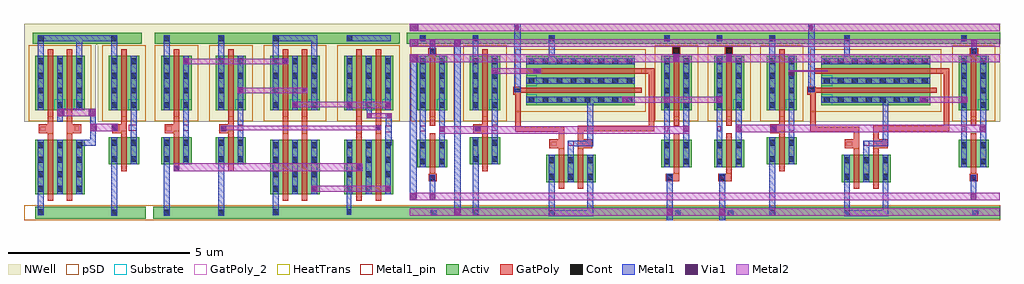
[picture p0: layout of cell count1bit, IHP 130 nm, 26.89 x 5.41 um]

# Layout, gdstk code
from math import pi, radians
import gdstk
lib = gdstk.Library(unit=1e-6, precision=5e-09)
def R(c, l, rs):  # rectangles x0, y0, x1, y1
    for r in rs: c.add(gdstk.rectangle(r[:2], r[2:], *l))
def A(c, l, x, y, w, h, nx, ny, dx, dy):  # array of equal rectangles
    R(c, l, [(x+i*dx, y+j*dy, x+i*dx+w, y+j*dy+h) for i in range(nx) for j in range(ny)])
Activ = (1, 0)
GatPoly = (5, 0)
GatPoly_2 = (5, 2)
Cont = (6, 0)
Metal1 = (8, 0)
Metal1_pin = (8, 2)
Metal2 = (10, 0)
pSD = (14, 0)
Via1 = (19, 0)
NWell = (31, 0)
Substrate = (40, 0)
HeatTrans = (51, 0)

nmos_1 = lib.new_cell('nmos$1')
R(nmos_1, Activ, [(0,0,0.3,0.3), (0,0,0.83,1.5), (0.53,0,0.83,0.3)])
R(nmos_1, GatPoly, [(0.34,-0.18,0.49,1.68)])
R(nmos_1, GatPoly_2, [(0.34,-0.18,0.49,1.68)])
A(nmos_1, Cont, 0.07, 0.07, 0.16, 0.16, 1, 4, 0, 0.4)
A(nmos_1, Cont, 0.6, 0.07, 0.16, 0.16, 1, 4, 0, 0.4)
R(nmos_1, Metal1, [(0.07,0,0.23,1.5), (0.6,0,0.76,1.5)])
R(nmos_1, Metal1_pin, [(0.07,0,0.23,1.5), (0.6,0,0.76,1.5)])
R(nmos_1, HeatTrans, [(0.34,-0.18,0.49,1.68)])
nmos_1.add(gdstk.Label('nmos', (0.415,0.75), layer=63, texttype=0))
nmos_1.add(gdstk.Label('nmos', (0.415,0.75), layer=51, texttype=0))

pmos = lib.new_cell('pmos')
R(pmos, Activ, [(0,0,0.3,0.3), (0,0,0.83,1.5), (0.53,0,0.83,0.3)])
R(pmos, GatPoly, [(0.34,-0.18,0.49,1.68), (0.34,-0.18,0.49,1.68)])
A(pmos, Cont, 0.07, 0.07, 0.16, 0.16, 1, 4, 0, 0.4)
A(pmos, Cont, 0.6, 0.07, 0.16, 0.16, 1, 4, 0, 0.4)
R(pmos, Metal1, [(0.07,0,0.23,1.5), (0.07,0,0.23,1.5), (0.6,0,0.76,1.5), (0.6,0,0.76,1.5)])
R(pmos, pSD, [(-0.18,-0.3,1.01,1.8)])
R(pmos, NWell, [(-0.31,-0.31,1.14,1.81)])
R(pmos, Substrate, [(0.53,0,0.83,0.3)])
R(pmos, HeatTrans, [(0.34,-0.18,0.49,1.68)])
pmos.add(gdstk.Label('pmos', (0.415,0.75), layer=63, texttype=0))
pmos.add(gdstk.Label('pmos', (0.415,0.75), layer=51, texttype=0))

nmos_4 = lib.new_cell('nmos$4')
R(nmos_4, Activ, [(0,0,0.3,0.3), (0,0,0.83,0.75), (0.53,0,0.83,0.3)])
R(nmos_4, GatPoly, [(0.34,-0.18,0.49,0.93)])
R(nmos_4, GatPoly_2, [(0.34,-0.18,0.49,0.93)])
R(nmos_4, Cont, [(0.07,0.07,0.23,0.23), (0.6,0.07,0.76,0.23), (0.07,0.52,0.23,0.68), (0.6,0.52,0.76,0.68)])
R(nmos_4, Metal1, [(0.07,0,0.23,0.75), (0.6,0,0.76,0.75)])
R(nmos_4, Metal1_pin, [(0.07,0,0.23,0.75), (0.6,0,0.76,0.75)])
R(nmos_4, HeatTrans, [(0.34,-0.18,0.49,0.93)])
nmos_4.add(gdstk.Label('nmos', (0.415,0.375), layer=63, texttype=0))
nmos_4.add(gdstk.Label('nmos', (0.415,0.375), layer=51, texttype=0))

pmos_4 = lib.new_cell('pmos$4')
R(pmos_4, Activ, [(0,0,0.3,0.3), (0,0,0.83,1.5), (0.53,0,0.83,0.3)])
R(pmos_4, GatPoly, [(0.34,-0.18,0.49,1.68), (0.34,-0.18,0.49,1.68)])
A(pmos_4, Cont, 0.07, 0.07, 0.16, 0.16, 1, 4, 0, 0.4)
A(pmos_4, Cont, 0.6, 0.07, 0.16, 0.16, 1, 4, 0, 0.4)
R(pmos_4, Metal1, [(0.07,0,0.23,1.5), (0.07,0,0.23,1.5), (0.6,0,0.76,1.5), (0.6,0,0.76,1.5)])
R(pmos_4, pSD, [(-0.18,-0.3,1.01,1.8)])
R(pmos_4, NWell, [(-0.31,-0.31,1.14,1.81)])
R(pmos_4, Substrate, [(0.53,0,0.83,0.3)])
R(pmos_4, HeatTrans, [(0.34,-0.18,0.49,1.68)])
pmos_4.add(gdstk.Label('pmos', (0.415,0.75), layer=63, texttype=0))
pmos_4.add(gdstk.Label('pmos', (0.415,0.75), layer=51, texttype=0))

inverter_3 = lib.new_cell('inverter$3')
R(inverter_3, Activ, [(-0.845,-2.62,0.395,-2.29), (-0.795,2.205,0.285,2.505)])
R(inverter_3, GatPoly, [(-0.525,-0.265,-0.275,-0.015), (-0.275,-0.195,-0.125,0.185)])
R(inverter_3, GatPoly_2, [(-0.485,-0.215,-0.325,-0.055)])
R(inverter_3, Cont, [(-0.545,-2.535,-0.385,-2.375), (-0.545,-2.535,-0.385,-2.375), (-0.545,2.275,-0.385,2.435)])
R(inverter_3, Metal1, [(-0.545,-2.535,-0.38,-0.845), (-0.015,-0.375,0.145,0.365), (-0.545,1.865,-0.385,2.435)])
R(inverter_3, Metal1_pin, [(-0.015,-0.195,0.145,-0.035)])
R(inverter_3, pSD, [(-0.925,-2.66,0.525,-2.245)])
R(inverter_3, NWell, [(-0.925,2.175,0.525,2.745)])
inverter_3.add(gdstk.Reference(nmos_4, (-0.615,-1.125)))
inverter_3.add(gdstk.Reference(pmos_4, (-0.615,0.365)))
inverter_3.add(gdstk.Label('vss', (-0.475,-2.43), layer=8, texttype=2))
inverter_3.add(gdstk.Label('vdd', (-0.465,2.355), layer=8, texttype=2))
inverter_3.add(gdstk.Label('out', (0.06,-0.09), layer=8, texttype=2))
inverter_3.add(gdstk.Label('in', (-0.45,-0.11), layer=5, texttype=2))

xorgate = lib.new_cell('xorgate')
R(xorgate, Activ, [(-5.875,-2.62,-0.845,-2.29), (-0.845,-2.62,1.185,-2.29), (-5.825,2.205,-0.795,2.505), (-0.795,2.205,0.925,2.505)])
R(xorgate, GatPoly, [(-2.305,-0.265,-2.155,0.185), (-1.775,-0.265,-1.625,0.185), (-0.275,-0.265,-0.125,0.185), (0.255,-0.265,0.405,0.185)])
R(xorgate, GatPoly_2, [(-5.515,-0.215,-5.355,-0.055)])
R(xorgate, Cont, [(-2.575,-2.52,-2.415,-2.36), (-0.535,-2.51,-0.42,-2.365), (-5.305,-1.305,-5.155,-1.16), (-0.23,-1.26,-0.145,-1.135), (-4.015,-0.215,-3.855,-0.055), (0.255,-0.18,0.405,-0.04), (-1.75,0.875,-1.665,0.965), (-2.28,1.66,-2.175,1.78), (-2.575,2.275,-2.415,2.435), (-0.545,2.275,-0.385,2.435)])
R(xorgate, Metal1, [(-2.575,-2.52,-2.415,-0.445), (-0.535,-2.51,-0.42,-1.715), (-0.265,-1.31,-0.115,-1.09), (-5.305,-1.305,-5.155,-1.16), (-5.305,-1.305,-5.155,-1.165), (0.515,-0.595,0.695,-0.065), (0.53,-0.235,0.695,0.285), (-4.015,-0.215,-3.855,-0.055), (0.255,-0.18,0.405,-0.04), (0.005,0.145,0.145,0.365), (-2.575,0.365,-2.415,2.435), (-1.75,0.875,-1.665,0.965), (-2.31,1.635,-2.15,1.8), (-2.575,1.865,-2.415,2.435), (-1.515,1.865,-1.355,2.435), (-2.575,2.275,-1.355,2.435), (-0.545,2.275,0.675,2.435)])
R(xorgate, Metal1_pin, [(-2.575,-2.52,-2.415,-2.355), (0.515,-0.235,0.695,-0.065), (-2.575,2.275,-2.415,2.435), (-0.545,2.275,-0.385,2.435)])
R(xorgate, Metal2, [(-1.515,-1.88,0.675,-1.715), (-5.305,-1.305,-5.155,-1.16), (-5.305,-1.305,-0.125,-1.09), (-4.015,-0.18,0.405,-0.055), (0.005,0.145,0.695,0.285), (-0.53,0.43,0.675,0.605), (-2.045,0.445,-0.385,0.605), (-3.545,0.835,-1.625,0.995), (-5.045,1.635,-2.15,1.79), (-5.045,1.635,-4.885,1.795)])
R(xorgate, pSD, [(-5.955,-2.66,-0.925,-2.245), (-0.925,-2.66,1.105,-2.245)])
R(xorgate, Via1, [(-1.515,-1.88,-1.355,-1.72), (0.515,-1.855,0.675,-1.715), (-5.305,-1.305,-5.155,-1.165), (-0.265,-1.305,-0.115,-1.09), (-4.015,-0.215,-3.855,-0.055), (0.255,-0.18,0.405,-0.04), (0.005,0.145,0.145,0.285), (0.575,0.145,0.695,0.285), (0.53,0.43,0.675,0.605), (-2.045,0.445,-1.885,0.595), (-0.545,0.46,-0.385,0.605), (-3.545,0.835,-3.385,1), (-1.75,0.875,-1.665,0.965), (-2.31,1.635,-2.15,1.8), (-5.045,1.64,-4.885,1.8)])
R(xorgate, NWell, [(-5.955,0.055,1.105,2.745), (-5.955,2.175,-0.925,2.745), (-0.925,2.175,1.105,2.745)])
xorgate.add(gdstk.Reference(nmos_1, (0.745,-0.445), rotation=pi))
xorgate.add(gdstk.Reference(nmos_1, (-0.615,-1.945)))
xorgate.add(gdstk.Reference(pmos, (-0.615,0.365)))
xorgate.add(gdstk.Reference(pmos, (-0.085,0.365)))
xorgate.add(gdstk.Reference(pmos, (-2.645,0.365)))
xorgate.add(gdstk.Reference(pmos, (-2.115,0.365)))
xorgate.add(gdstk.Reference(nmos_1, (-1.285,-0.445), rotation=pi))
xorgate.add(gdstk.Reference(nmos_1, (-2.645,-1.945)))
xorgate.add(gdstk.Reference(inverter_3, (-3.53,0)))
xorgate.add(gdstk.Reference(inverter_3, (-5.03,0)))
xorgate.add(gdstk.Label('vdd', (-5.495,2.355), layer=8, texttype=2))
xorgate.add(gdstk.Label('vss', (-5.495,-2.455), layer=8, texttype=2))
xorgate.add(gdstk.Label('out', (0.605,-0.15), layer=8, texttype=2))
xorgate.add(gdstk.Label('vdd', (-2.505,2.38), layer=8, texttype=2))
xorgate.add(gdstk.Label('vss', (-2.515,-2.425), layer=8, texttype=2))
xorgate.add(gdstk.Label('vdd', (-0.475,2.38), layer=8, texttype=2))
xorgate.add(gdstk.Label('b', (-5.435,-0.135), layer=5, texttype=2))
xorgate.add(gdstk.Label('a', (-3.93,-0.14), layer=5, texttype=2))

nmos_5_1 = lib.new_cell('nmos$5$1')
R(nmos_5_1, Activ, [(0,0,0.3,0.3), (0,0,0.83,0.75), (0.53,0,0.83,0.3)])
R(nmos_5_1, GatPoly, [(0.34,-0.18,0.49,0.93)])
R(nmos_5_1, GatPoly_2, [(0.34,-0.18,0.49,0.93)])
R(nmos_5_1, Cont, [(0.07,0.07,0.23,0.23), (0.6,0.07,0.76,0.23), (0.07,0.52,0.23,0.68), (0.6,0.52,0.76,0.68)])
R(nmos_5_1, Metal1, [(0.07,0,0.23,0.75), (0.6,0,0.76,0.75)])
R(nmos_5_1, Metal1_pin, [(0.07,0,0.23,0.75), (0.6,0,0.76,0.75)])
R(nmos_5_1, HeatTrans, [(0.34,-0.18,0.49,0.93)])
nmos_5_1.add(gdstk.Label('nmos', (0.415,0.375), layer=63, texttype=0))
nmos_5_1.add(gdstk.Label('nmos', (0.415,0.375), layer=51, texttype=0))

pmos_6 = lib.new_cell('pmos$6')
R(pmos_6, Activ, [(0,0,0.3,0.3), (0,0,0.83,1.5), (0.53,0,0.83,0.3)])
R(pmos_6, GatPoly, [(0.34,-0.18,0.49,1.68), (0.34,-0.18,0.49,1.68)])
A(pmos_6, Cont, 0.07, 0.07, 0.16, 0.16, 1, 4, 0, 0.4)
A(pmos_6, Cont, 0.6, 0.07, 0.16, 0.16, 1, 4, 0, 0.4)
R(pmos_6, Metal1, [(0.07,0,0.23,1.5), (0.07,0,0.23,1.5), (0.6,0,0.76,1.5), (0.6,0,0.76,1.5)])
R(pmos_6, pSD, [(-0.18,-0.3,1.01,1.8)])
R(pmos_6, NWell, [(-0.31,-0.31,1.14,1.81)])
R(pmos_6, Substrate, [(0.53,0,0.83,0.3)])
R(pmos_6, HeatTrans, [(0.34,-0.18,0.49,1.68)])
pmos_6.add(gdstk.Label('pmos', (0.415,0.75), layer=63, texttype=0))
pmos_6.add(gdstk.Label('pmos', (0.415,0.75), layer=51, texttype=0))

transmissiongate = lib.new_cell('transmissiongate')
R(transmissiongate, Activ, [(2.295,-2.62,3.745,-2.29), (2.315,2.205,3.745,2.505)])
R(transmissiongate, GatPoly, [(2.945,-0.055,3.095,0.185)])
R(transmissiongate, GatPoly_2, [(2.98,-0.43,3.09,-0.27), (2.96,-0.055,3.08,0.105)])
R(transmissiongate, Cont, [(2.98,-2.54,3.14,-2.38), (2.675,2.275,2.835,2.435)])
R(transmissiongate, Metal1, [(2.98,-2.54,3.14,-2.38), (2.98,-2.54,3.14,-2.38), (2.675,-0.445,2.835,-0.21), (3.205,-0.445,3.365,-0.21), (2.675,-0.21,2.835,0.365), (3.205,-0.21,3.365,0.365), (2.675,2.275,2.835,2.435)])
R(transmissiongate, Metal1_pin, [(2.98,-2.54,3.14,-2.38), (2.69,-0.21,2.785,-0.07), (3.205,-0.21,3.365,-0.07), (2.675,2.275,2.835,2.435)])
R(transmissiongate, pSD, [(2.295,-2.66,3.745,-2.245)])
R(transmissiongate, NWell, [(2.295,2.175,3.745,2.745)])
transmissiongate.add(gdstk.Reference(nmos_5_1, (2.605,-1.195)))
transmissiongate.add(gdstk.Reference(pmos_6, (2.605,0.365)))
transmissiongate.add(gdstk.Label('vdd', (2.745,2.38), layer=8, texttype=2))
transmissiongate.add(gdstk.Label('vss', (3.055,-2.46), layer=8, texttype=2))
transmissiongate.add(gdstk.Label('out', (3.285,-0.14), layer=8, texttype=2))
transmissiongate.add(gdstk.Label('in', (2.73,-0.14), layer=8, texttype=2))
transmissiongate.add(gdstk.Label('en', (3.015,-0.355), layer=5, texttype=2))
transmissiongate.add(gdstk.Label('noten', (3.025,0.02), layer=5, texttype=2))

nmos = lib.new_cell('nmos')
R(nmos, Activ, [(0,0,0.3,0.3), (0,0,0.83,0.75), (0.53,0,0.83,0.3)])
R(nmos, GatPoly, [(0.34,-0.18,0.49,0.93)])
R(nmos, GatPoly_2, [(0.34,-0.18,0.49,0.93)])
R(nmos, Cont, [(0.07,0.07,0.23,0.23), (0.6,0.07,0.76,0.23), (0.07,0.52,0.23,0.68), (0.6,0.52,0.76,0.68)])
R(nmos, Metal1, [(0.07,0,0.23,0.75), (0.6,0,0.76,0.75)])
R(nmos, Metal1_pin, [(0.07,0,0.23,0.75), (0.6,0,0.76,0.75)])
R(nmos, HeatTrans, [(0.34,-0.18,0.49,0.93)])
nmos.add(gdstk.Label('nmos', (0.415,0.375), layer=63, texttype=0))
nmos.add(gdstk.Label('nmos', (0.415,0.375), layer=51, texttype=0))

pmos_1 = lib.new_cell('pmos$1')
R(pmos_1, Activ, [(0,0,0.3,0.3), (0,0,0.83,1.5), (0.53,0,0.83,0.3)])
R(pmos_1, GatPoly, [(0.34,-0.18,0.49,1.68), (0.34,-0.18,0.49,1.68)])
A(pmos_1, Cont, 0.07, 0.07, 0.16, 0.16, 1, 4, 0, 0.4)
A(pmos_1, Cont, 0.6, 0.07, 0.16, 0.16, 1, 4, 0, 0.4)
R(pmos_1, Metal1, [(0.07,0,0.23,1.5), (0.07,0,0.23,1.5), (0.6,0,0.76,1.5), (0.6,0,0.76,1.5)])
R(pmos_1, pSD, [(-0.18,-0.3,1.01,1.8)])
R(pmos_1, NWell, [(-0.31,-0.31,1.14,1.81)])
R(pmos_1, Substrate, [(0.53,0,0.83,0.3)])
R(pmos_1, HeatTrans, [(0.34,-0.18,0.49,1.68)])
pmos_1.add(gdstk.Label('pmos', (0.415,0.75), layer=63, texttype=0))
pmos_1.add(gdstk.Label('pmos', (0.415,0.75), layer=51, texttype=0))

inverter = lib.new_cell('inverter')
R(inverter, Activ, [(-0.845,-2.62,0.395,-2.29), (-0.795,2.205,0.285,2.505)])
R(inverter, GatPoly, [(-0.525,-0.265,-0.275,-0.015), (-0.275,-0.195,-0.125,0.185)])
R(inverter, GatPoly_2, [(-0.485,-0.215,-0.325,-0.055)])
R(inverter, Cont, [(-0.545,-2.535,-0.385,-2.375), (-0.545,-2.535,-0.385,-2.375), (-0.545,2.275,-0.385,2.435)])
R(inverter, Metal1, [(-0.545,-2.535,-0.38,-0.845), (-0.015,-0.375,0.145,0.365), (-0.545,1.865,-0.385,2.435)])
R(inverter, Metal1_pin, [(-0.015,-0.195,0.145,-0.035)])
R(inverter, pSD, [(-0.925,-2.66,0.525,-2.245)])
R(inverter, NWell, [(-0.925,2.175,0.525,2.745)])
inverter.add(gdstk.Reference(nmos, (-0.615,-1.125)))
inverter.add(gdstk.Reference(pmos_1, (-0.615,0.365)))
inverter.add(gdstk.Label('vss', (-0.475,-2.43), layer=8, texttype=2))
inverter.add(gdstk.Label('vdd', (-0.465,2.355), layer=8, texttype=2))
inverter.add(gdstk.Label('out', (0.06,-0.09), layer=8, texttype=2))
inverter.add(gdstk.Label('in', (-0.45,-0.11), layer=5, texttype=2))

nmos_5 = lib.new_cell('nmos$5')
R(nmos_5, Activ, [(0,0,0.3,0.3), (0,0,0.83,0.75), (0.53,0,0.83,0.3)])
R(nmos_5, GatPoly, [(0.34,-0.18,0.49,0.93)])
R(nmos_5, GatPoly_2, [(0.34,-0.18,0.49,0.93)])
R(nmos_5, Cont, [(0.07,0.07,0.23,0.23), (0.6,0.07,0.76,0.23), (0.07,0.52,0.23,0.68), (0.6,0.52,0.76,0.68)])
R(nmos_5, Metal1, [(0.07,0,0.23,0.75), (0.6,0,0.76,0.75)])
R(nmos_5, Metal1_pin, [(0.07,0,0.23,0.75), (0.6,0,0.76,0.75)])
R(nmos_5, HeatTrans, [(0.34,-0.18,0.49,0.93)])
nmos_5.add(gdstk.Label('nmos', (0.415,0.375), layer=63, texttype=0))
nmos_5.add(gdstk.Label('nmos', (0.415,0.375), layer=51, texttype=0))

pmos_5 = lib.new_cell('pmos$5')
R(pmos_5, Activ, [(0,0,0.3,0.3), (0,0,0.83,3), (0.53,0,0.83,0.3)])
R(pmos_5, GatPoly, [(0.34,-0.18,0.49,3.18), (0.34,-0.18,0.49,3.18)])
A(pmos_5, Cont, 0.07, 0.07, 0.16, 0.16, 1, 7, 0, 0.385)
A(pmos_5, Cont, 0.6, 0.07, 0.16, 0.16, 1, 7, 0, 0.385)
R(pmos_5, Cont, [(0.07,2.77,0.23,2.93), (0.6,2.77,0.76,2.93)])
R(pmos_5, Metal1, [(0.07,0,0.23,3), (0.07,0,0.23,3), (0.6,0,0.76,3), (0.6,0,0.76,3)])
R(pmos_5, pSD, [(-0.18,-0.3,1.01,3.3)])
R(pmos_5, NWell, [(-0.31,-0.31,1.14,3.31)])
R(pmos_5, Substrate, [(0.53,0,0.83,0.3)])
R(pmos_5, HeatTrans, [(0.34,-0.18,0.49,3.18)])
pmos_5.add(gdstk.Label('pmos', (0.415,1.5), layer=63, texttype=0))
pmos_5.add(gdstk.Label('pmos', (0.415,1.5), layer=51, texttype=0))

norgate = lib.new_cell('norgate')
R(norgate, Activ, [(-1.47,-2.5,1.81,-2.17), (-1.35,2.325,1.935,2.625)])
R(norgate, GatPoly, [(-0.525,-0.56,-0.125,-0.31), (-0.275,-0.56,-0.125,-0.11), (0.255,-0.56,0.405,0.065), (0.255,-0.56,0.655,-0.31), (-1.47,-0.11,-0.125,0.04), (0.255,-0.085,2.355,0.065), (2.205,-0.085,2.355,1.645), (-1.47,0.04,-1.32,1.135), (-1.47,0.965,-1.35,1.135), (2.01,1.495,2.355,1.645)])
R(norgate, GatPoly_2, [(0.47,-0.49,0.6,-0.37), (-0.48,-0.485,-0.325,-0.375)])
R(norgate, Cont, [(-0.545,-2.43,-0.385,-2.27), (-0.545,2.395,-0.385,2.555)])
R(norgate, Metal1, [(-0.545,-2.43,-0.385,-0.74), (-0.545,-2.43,0.675,-2.265), (0.515,-2.43,0.675,-0.74), (-0.015,-0.74,0.145,-0.36), (-0.015,-0.505,0.675,-0.345), (0.515,-0.49,0.675,0.695), (-0.545,1.755,-0.385,2.555)])
R(norgate, Metal1_pin, [(-0.545,-2.43,-0.385,-2.265), (-0.01,-0.49,0.15,-0.345), (-0.545,2.395,-0.385,2.555)])
R(norgate, pSD, [(-1.47,-2.54,1.81,-2.125)])
R(norgate, NWell, [(-1.47,2.295,2.13,2.865)])
norgate.add(gdstk.Reference(nmos_5, (0.745,-0.74), rotation=pi))
norgate.add(gdstk.Reference(nmos_5, (-0.615,-1.49)))
norgate.add(gdstk.Reference(pmos_5, (-1.17,1.985), rotation=3*pi/2))
norgate.add(gdstk.Reference(pmos_5, (-1.17,1.455), rotation=3*pi/2))
norgate.add(gdstk.Label('vss', (-0.485,-2.335), layer=8, texttype=2))
norgate.add(gdstk.Label('vdd', (-0.475,2.5), layer=8, texttype=2))
norgate.add(gdstk.Label('out', (0.07,-0.41), layer=8, texttype=2))
norgate.add(gdstk.Label('b', (-0.42,-0.435), layer=5, texttype=2))
norgate.add(gdstk.Label('a', (0.52,-0.44), layer=5, texttype=2))

dff = lib.new_cell('dff')
R(dff, Activ, [(-1.81,-2.62,14.55,-2.29), (-1.79,2.205,14.55,2.505)])
R(dff, GatPoly, [(-1.19,-1.585,-0.965,-1.375), (5.34,-1.585,5.565,-1.375), (5.565,-1.585,5.715,-1.375), (6.785,-1.585,7.01,-1.375), (7.01,-1.585,7.16,-1.375), (13.71,-1.585,13.935,-1.375), (1.14,0.8,1.345,1.015), (9.235,0.8,9.44,1.015), (-1.2,1.865,-0.975,2.075), (13.72,1.865,13.945,2.075), (5.515,1.895,5.74,2.105), (6.97,1.895,7.195,2.105)])
R(dff, Cont, [(-1.16,-1.565,-1,-1.405), (5.37,-1.565,5.53,-1.405), (6.815,-1.565,6.975,-1.405), (13.74,-1.565,13.9,-1.405), (0.08,-0.215,0.24,-0.055), (8.245,-0.215,8.405,-0.055), (1.17,0.86,1.355,0.955), (9.265,0.86,9.45,0.995), (1.69,1.395,1.91,1.48), (9.685,1.43,9.8,1.49), (-1.165,1.895,-1.005,2.055), (13.755,1.895,13.915,2.055), (5.55,1.925,5.71,2.085), (7.005,1.925,7.165,2.085), (10.255,2.275,10.415,2.435)])
R(dff, Metal1, [(5.37,-2.66,5.53,-1.375), (6.815,-2.66,6.975,-1.375), (-0.49,-2.535,-0.3,2.33), (-1.71,-2.115,-1.52,1.905), (-1.16,-2.115,-1,-1.405), (13.74,-2.115,13.9,-1.405), (0.08,-0.215,0.24,-0.055), (8.245,-0.215,8.405,-0.055), (1.17,0.86,1.355,2.505), (9.265,0.86,9.45,2.505), (1.69,1.375,1.91,1.525), (9.685,1.43,9.8,1.49), (5.55,1.695,5.71,1.925), (7.005,1.695,7.165,1.925), (-1.165,1.895,-1.005,2.33), (13.755,1.895,13.915,2.33), (1.17,2.505,1.35,2.745), (9.265,2.505,9.445,2.745), (-1.71,2.54,-1.48,2.75), (-1.71,2.54,-1.475,2.75)])
R(dff, Metal1_pin, [(-1.43,-0.21,-1.27,-0.065), (-1.71,1.695,-1.48,1.905), (-1.71,2.12,-1.48,2.33), (-1.71,2.54,-1.48,2.75)])
R(dff, Metal2, [(-1.71,-2.535,14.545,-2.325), (-1.71,-2.115,14.545,-1.905), (-0.9,-0.28,5.99,-0.07), (7.265,-0.24,14.15,-0.03), (4.15,0.575,5.455,0.74), (5.455,0.575,6.905,0.74), (12.345,0.575,13.65,0.74), (0.55,1.38,1.91,1.525), (8.725,1.43,9.8,1.47), (-1.71,1.695,14.545,1.905), (-1.71,2.12,14.545,2.33), (-1.71,2.54,14.545,2.75)])
R(dff, pSD, [(-1.81,-2.66,14.55,-2.245)])
R(dff, Via1, [(-0.475,-2.51,-0.315,-2.35), (5.365,-2.505,5.525,-2.345), (6.81,-2.505,6.97,-2.345), (-1.695,-2.095,-1.535,-1.935), (-1.16,-2.09,-1,-1.93), (13.74,-2.09,13.9,-1.93), (-0.9,-0.23,-0.74,-0.07), (7.265,-0.23,7.425,-0.07), (5.83,-0.22,5.99,-0.06), (0.08,-0.215,0.24,-0.055), (8.245,-0.215,8.405,-0.055), (13.99,-0.21,14.15,-0.07), (4.155,0.575,4.315,0.735), (5.295,0.575,5.455,0.735), (5.295,0.575,5.455,0.735), (12.35,0.575,12.51,0.735), (13.49,0.575,13.65,0.735), (6.74,0.595,6.9,0.755), (8.725,1.335,8.885,1.47), (1.69,1.375,1.91,1.525), (0.55,1.38,0.71,1.49), (9.685,1.43,9.8,1.49), (-1.71,1.695,-1.475,1.905), (5.55,1.72,5.71,1.88), (7.005,1.72,7.165,1.88), (-1.71,2.12,-1.475,2.33), (-1.165,2.135,-1.005,2.295), (13.755,2.135,13.915,2.295), (-0.475,2.15,-0.315,2.31), (-1.71,2.54,-1.475,2.75), (1.2,2.585,1.295,2.705), (9.295,2.585,9.39,2.705)])
R(dff, NWell, [(-1.81,0.055,14.545,2.75), (-1.81,2.205,14.55,2.745)])
dff.add(gdstk.Reference(transmissiongate, (10.805,0)))
dff.add(gdstk.Reference(inverter, (0.565,0)))
dff.add(gdstk.Reference(transmissiongate, (2.62,0)))
dff.add(gdstk.Reference(transmissiongate, (4.07,0)))
dff.add(gdstk.Reference(inverter, (8.74,0)))
dff.add(gdstk.Reference(transmissiongate, (-4.105,0)))
dff.add(gdstk.Reference(norgate, (2.665,-0.12)))
dff.add(gdstk.Reference(norgate, (10.8,-0.12)))
dff.add(gdstk.Label('rst', (-1.595,2.645), layer=8, texttype=2))
dff.add(gdstk.Label('clk', (-1.595,1.78), layer=8, texttype=2))
dff.add(gdstk.Label('in', (-1.335,-0.135), layer=8, texttype=2))
dff.add(gdstk.Label('nclk', (-1.595,2.21), layer=8, texttype=2))

nmos_1_1 = lib.new_cell('nmos$1$1')
R(nmos_1_1, Activ, [(0,0,0.3,0.3), (0,0,0.83,1.5), (0.53,0,0.83,0.3)])
R(nmos_1_1, GatPoly, [(0.34,-0.18,0.49,1.68)])
R(nmos_1_1, GatPoly_2, [(0.34,-0.18,0.49,1.68)])
A(nmos_1_1, Cont, 0.07, 0.07, 0.16, 0.16, 1, 4, 0, 0.4)
A(nmos_1_1, Cont, 0.6, 0.07, 0.16, 0.16, 1, 4, 0, 0.4)
R(nmos_1_1, Metal1, [(0.07,0,0.23,1.5), (0.6,0,0.76,1.5)])
R(nmos_1_1, Metal1_pin, [(0.07,0,0.23,1.5), (0.6,0,0.76,1.5)])
R(nmos_1_1, HeatTrans, [(0.34,-0.18,0.49,1.68)])
nmos_1_1.add(gdstk.Label('nmos', (0.415,0.75), layer=63, texttype=0))
nmos_1_1.add(gdstk.Label('nmos', (0.415,0.75), layer=51, texttype=0))

pmos_7 = lib.new_cell('pmos$7')
R(pmos_7, Activ, [(0,0,0.3,0.3), (0,0,0.83,1.5), (0.53,0,0.83,0.3)])
R(pmos_7, GatPoly, [(0.34,-0.18,0.49,1.68), (0.34,-0.18,0.49,1.68)])
A(pmos_7, Cont, 0.07, 0.07, 0.16, 0.16, 1, 4, 0, 0.4)
A(pmos_7, Cont, 0.6, 0.07, 0.16, 0.16, 1, 4, 0, 0.4)
R(pmos_7, Metal1, [(0.07,0,0.23,1.5), (0.07,0,0.23,1.5), (0.6,0,0.76,1.5), (0.6,0,0.76,1.5)])
R(pmos_7, pSD, [(-0.18,-0.3,1.01,1.8)])
R(pmos_7, NWell, [(-0.31,-0.31,1.14,1.81)])
R(pmos_7, Substrate, [(0.53,0,0.83,0.3)])
R(pmos_7, HeatTrans, [(0.34,-0.18,0.49,1.68)])
pmos_7.add(gdstk.Label('pmos', (0.415,0.75), layer=63, texttype=0))
pmos_7.add(gdstk.Label('pmos', (0.415,0.75), layer=51, texttype=0))

nmos_4_1 = lib.new_cell('nmos$4$1')
R(nmos_4_1, Activ, [(0,0,0.3,0.3), (0,0,0.83,0.75), (0.53,0,0.83,0.3)])
R(nmos_4_1, GatPoly, [(0.34,-0.18,0.49,0.93)])
R(nmos_4_1, GatPoly_2, [(0.34,-0.18,0.49,0.93)])
R(nmos_4_1, Cont, [(0.07,0.07,0.23,0.23), (0.6,0.07,0.76,0.23), (0.07,0.52,0.23,0.68), (0.6,0.52,0.76,0.68)])
R(nmos_4_1, Metal1, [(0.07,0,0.23,0.75), (0.6,0,0.76,0.75)])
R(nmos_4_1, Metal1_pin, [(0.07,0,0.23,0.75), (0.6,0,0.76,0.75)])
R(nmos_4_1, HeatTrans, [(0.34,-0.18,0.49,0.93)])
nmos_4_1.add(gdstk.Label('nmos', (0.415,0.375), layer=63, texttype=0))
nmos_4_1.add(gdstk.Label('nmos', (0.415,0.375), layer=51, texttype=0))

pmos_4_1 = lib.new_cell('pmos$4$1')
R(pmos_4_1, Activ, [(0,0,0.3,0.3), (0,0,0.83,1.5), (0.53,0,0.83,0.3)])
R(pmos_4_1, GatPoly, [(0.34,-0.18,0.49,1.68), (0.34,-0.18,0.49,1.68)])
A(pmos_4_1, Cont, 0.07, 0.07, 0.16, 0.16, 1, 4, 0, 0.4)
A(pmos_4_1, Cont, 0.6, 0.07, 0.16, 0.16, 1, 4, 0, 0.4)
R(pmos_4_1, Metal1, [(0.07,0,0.23,1.5), (0.07,0,0.23,1.5), (0.6,0,0.76,1.5), (0.6,0,0.76,1.5)])
R(pmos_4_1, pSD, [(-0.18,-0.3,1.01,1.8)])
R(pmos_4_1, NWell, [(-0.31,-0.31,1.14,1.81)])
R(pmos_4_1, Substrate, [(0.53,0,0.83,0.3)])
R(pmos_4_1, HeatTrans, [(0.34,-0.18,0.49,1.68)])
pmos_4_1.add(gdstk.Label('pmos', (0.415,0.75), layer=63, texttype=0))
pmos_4_1.add(gdstk.Label('pmos', (0.415,0.75), layer=51, texttype=0))

inverter_3_1 = lib.new_cell('inverter$3$1')
R(inverter_3_1, Activ, [(-0.845,-2.62,0.395,-2.29), (-0.795,2.205,0.285,2.505)])
R(inverter_3_1, GatPoly, [(-0.525,-0.265,-0.275,-0.015), (-0.275,-0.195,-0.125,0.185)])
R(inverter_3_1, GatPoly_2, [(-0.485,-0.215,-0.325,-0.055)])
R(inverter_3_1, Cont, [(-0.545,-2.535,-0.385,-2.375), (-0.545,-2.535,-0.385,-2.375), (-0.545,2.275,-0.385,2.435)])
R(inverter_3_1, Metal1, [(-0.545,-2.535,-0.38,-0.845), (-0.015,-0.375,0.145,0.365), (-0.545,1.865,-0.385,2.435)])
R(inverter_3_1, Metal1_pin, [(-0.015,-0.195,0.145,-0.035)])
R(inverter_3_1, pSD, [(-0.925,-2.66,0.525,-2.245)])
R(inverter_3_1, NWell, [(-0.925,2.175,0.525,2.745)])
inverter_3_1.add(gdstk.Reference(nmos_4_1, (-0.615,-1.125)))
inverter_3_1.add(gdstk.Reference(pmos_4_1, (-0.615,0.365)))
inverter_3_1.add(gdstk.Label('vss', (-0.475,-2.43), layer=8, texttype=2))
inverter_3_1.add(gdstk.Label('vdd', (-0.465,2.355), layer=8, texttype=2))
inverter_3_1.add(gdstk.Label('out', (0.06,-0.09), layer=8, texttype=2))
inverter_3_1.add(gdstk.Label('in', (-0.45,-0.11), layer=5, texttype=2))

andgate = lib.new_cell('andgate')
R(andgate, Activ, [(-0.62,-2.62,1.185,-2.29), (-0.685,2.205,1.235,2.505)])
R(andgate, GatPoly, [(-0.525,-0.265,-0.125,-0.015), (-0.275,-0.265,-0.125,0.185), (0.255,-0.265,0.405,0.185), (0.255,-0.265,0.655,-0.015)])
R(andgate, GatPoly_2, [(0.47,-0.195,0.6,-0.075), (-0.48,-0.19,-0.325,-0.08)])
R(andgate, Cont, [(-0.545,-2.52,-0.385,-2.36), (1.495,-0.185,1.655,-0.025), (-0.545,2.275,-0.385,2.435)])
R(andgate, Metal1, [(-0.545,-2.52,-0.385,-0.445), (0.515,-0.605,1.055,-0.445), (0.895,-0.605,1.055,0.405), (1.49,-0.19,1.66,-0.015), (-0.015,0.055,0.145,0.365), (-0.545,0.365,-0.385,2.435), (-0.545,1.865,-0.385,2.435), (0.515,1.865,0.675,2.435), (-0.545,2.275,0.675,2.435), (0.675,2.275,1.645,2.435)])
R(andgate, Metal1_pin, [(-0.545,-2.52,-0.385,-2.355), (1.965,-0.195,2.125,-0.035), (-0.545,2.275,-0.385,2.435)])
R(andgate, Metal2, [(0.895,-0.205,1.655,-0.005), (-0.015,0.205,1.055,0.405)])
R(andgate, pSD, [(-0.925,-2.66,1.105,-2.245)])
R(andgate, Via1, [(0.895,-0.205,1.085,-0.015), (1.495,-0.185,1.655,-0.025), (-0.01,0.215,0.18,0.405), (0.865,0.215,1.055,0.405)])
R(andgate, NWell, [(-0.925,2.175,1.105,2.745)])
andgate.add(gdstk.Reference(nmos_1_1, (0.745,-0.445), rotation=pi))
andgate.add(gdstk.Reference(pmos_7, (-0.085,0.365)))
andgate.add(gdstk.Reference(pmos_7, (-0.615,0.365)))
andgate.add(gdstk.Reference(nmos_1_1, (-0.615,-1.945)))
andgate.add(gdstk.Reference(inverter_3_1, (2.03,0)))
andgate.add(gdstk.Label('out', (2.045,-0.115), layer=8, texttype=2))
andgate.add(gdstk.Label('vdd', (-0.475,2.38), layer=8, texttype=2))
andgate.add(gdstk.Label('vss', (-0.485,-2.425), layer=8, texttype=2))
andgate.add(gdstk.Label('a', (0.535,-0.135), layer=5, texttype=2))
andgate.add(gdstk.Label('b', (-0.41,-0.14), layer=5, texttype=2))

count1bit = lib.new_cell('count1bit')
count1bit.add(gdstk.Reference(xorgate, (8.505,0)))
count1bit.add(gdstk.Reference(dff, (11.41,0)))
count1bit.add(gdstk.Reference(andgate, (0,0)))

lib.write_gds('count1bit.gds')
